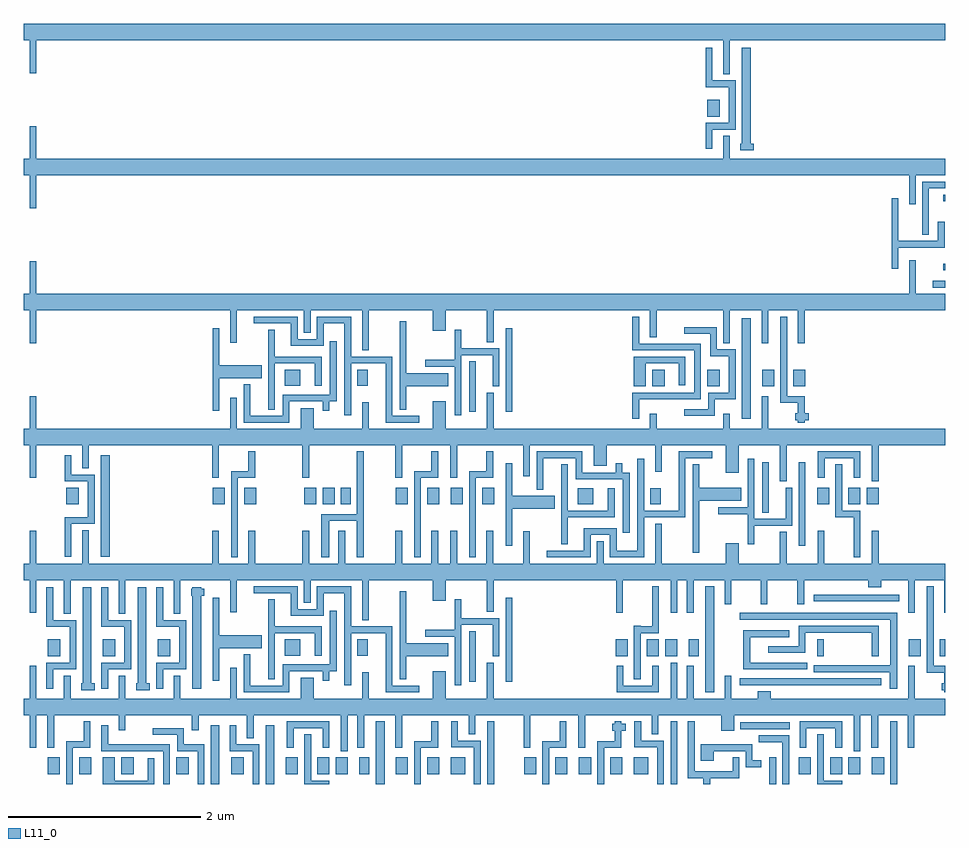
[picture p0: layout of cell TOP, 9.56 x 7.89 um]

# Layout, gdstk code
import gdstk
lib = gdstk.Library(unit=1e-6, precision=1e-10)
def R(c, l, rs):  # rectangles x0, y0, x1, y1
    for r in rs: c.add(gdstk.rectangle(r[:2], r[2:], *l))
def A(c, l, x, y, w, h, nx, ny, dx, dy):  # array of equal rectangles
    R(c, l, [(x+i*dx, y+j*dy, x+i*dx+w, y+j*dy+h) for i in range(nx) for j in range(ny)])
def P(c, l, *ps):  # polygons
    for p in ps: c.add(gdstk.Polygon(p, *l))
L11_0 = (11, 0)

top = lib.new_cell('TOP')
A(top, L11_0, 2.15, 23.1, 0.13, 0.175, 3, 1, 0.57, 0)
A(top, L11_0, 1.39, 24.325, 0.13, 0.175, 3, 1, 0.57, 0)
R(top, L11_0, [(3.08,23,3.17,23.61), (3.65,23,3.74,23.61), (4.79,23,4.885,23.65), (5.95,23,6.02,23.65), (7.85,23,7.92,23.65), (8.875,23,8.945,23.275), (10.13,23,10.2,23.65), (1.39,23.1,1.515,23.275), (1.715,23.1,1.84,23.275), (3.86,23.1,3.985,23.275), (4.185,23.1,4.31,23.275), (4.375,23.1,4.5,23.275), (4.62,23.1,4.725,23.275), (5,23.1,5.125,23.275), (5.325,23.1,5.45,23.275), (5.57,23.1,5.72,23.275), (6.33,23.1,6.455,23.275), (6.655,23.1,6.78,23.275), (6.9,23.1,7.025,23.275), (7.225,23.1,7.35,23.275), (7.47,23.1,7.62,23.275), (9.18,23.1,9.305,23.275), (9.505,23.1,9.63,23.275), (9.695,23.1,9.82,23.275), (9.94,23.1,10.065,23.275), (8.575,23.57,9.085,23.64), (8.21,23.95,8.305,25.05), (8.57,24.025,10.035,24.095), (5.76,24.06,5.83,24.585), (6.14,24.06,6.21,24.93), (7.28,24.325,7.405,24.5), (7.605,24.325,7.73,24.5), (7.795,24.325,7.92,24.5), (8.04,24.325,8.145,24.5), (9.37,24.325,9.44,24.5), (10.32,24.325,10.445,24.5), (10.645,24.325,10.7,24.5), (3.85,24.33,4.01,24.5), (4.6,24.33,4.71,24.5), (9.335,24.895,10.225,24.965), (1.94,25.36,2.03,26.41), (9.18,25.47,9.25,26.34), (8.8,25.815,8.87,26.34), (1.58,25.9,1.71,26.075), (3.1,25.9,3.225,26.075), (3.425,25.9,3.55,26.075), (4.05,25.9,4.175,26.075), (4.24,25.9,4.365,26.075), (4.43,25.9,4.53,26.075), (5,25.9,5.125,26.075), (5.325,25.9,5.45,26.075), (5.57,25.9,5.695,26.075), (5.895,25.9,6.02,26.075), (6.89,25.9,7.05,26.07), (7.64,25.9,7.75,26.07), (9.37,25.9,9.495,26.075), (9.695,25.9,9.82,26.075), (9.885,25.9,10.01,26.075), (8.59,26.79,8.68,27.83), (5.76,26.86,5.83,27.385), (6.14,26.86,6.21,27.73), (7.66,27.125,7.79,27.3), (8.23,27.125,8.36,27.3), (8.8,27.125,8.925,27.3), (9.125,27.125,9.25,27.3), (3.85,27.13,4.01,27.3), (4.6,27.13,4.71,27.3), (10.57,28.15,10.7,28.22), (10.68,28.33,10.7,28.4), (10.68,29.045,10.7,29.115), (8.23,29.925,8.36,30.1)])
P(top, L11_0, [(4.43,23.34),(4.43,23.715),(3.525,23.715),(3.525,23.475),(3.455,23.475),(3.455,23.715),(2.955,23.715),(2.955,23.56),(2.885,23.56),(2.885,23.715),(2.195,23.715),(2.195,23.56),(2.125,23.56),(2.125,23.715),(1.455,23.715),(1.455,23.375),(1.385,23.375),(1.385,23.715),(1.27,23.715),(1.27,23.375),(1.2,23.375),(1.2,23.715),(1.14,23.715),(1.14,23.885),(1.2,23.885),(1.2,24.225),(1.27,24.225),(1.27,23.885),(1.555,23.885),(1.555,24.125),(1.625,24.125),(1.625,23.885),(2.125,23.885),(2.125,24.125),(2.195,24.125),(2.195,23.885),(2.695,23.885),(2.695,24.125),(2.765,24.125),(2.765,23.885),(3.28,23.885),(3.28,24.205),(3.35,24.205),(3.35,23.885),(4.015,23.885),(4.015,24.1),(4.15,24.1),(4.15,23.885),(4.65,23.885),(4.65,24.16),(4.72,24.16),(4.72,23.885),(5.385,23.885),(5.385,24.17),(5.52,24.17),(5.52,23.885),(5.945,23.885),(5.945,24.26),(6.015,24.26),(6.015,23.885),(7.85,23.885),(7.85,24.26),(7.92,24.26),(7.92,23.885),(8.02,23.885),(8.02,24.225),(8.09,24.225),(8.09,23.885),(8.41,23.885),(8.41,24.125),(8.48,24.125),(8.48,23.885),(8.755,23.885),(8.755,23.96),(8.89,23.96),(8.89,23.885),(10.315,23.885),(10.315,24.225),(10.385,24.225),(10.385,23.885),(10.7,23.885),(10.7,23.715),(10.38,23.715),(10.38,23.375),(10.31,23.375),(10.31,23.715),(10.005,23.715),(10.005,23.375),(9.935,23.375),(9.935,23.715),(9.82,23.715),(9.82,23.34),(9.75,23.34),(9.75,23.715),(8.51,23.715),(8.51,23.55),(8.375,23.55),(8.375,23.715),(7.725,23.715),(7.725,23.515),(7.655,23.515),(7.655,23.715),(6.965,23.715),(6.965,23.375),(6.895,23.375),(6.895,23.715),(6.395,23.715),(6.395,23.375),(6.325,23.375),(6.325,23.715),(5.825,23.715),(5.825,23.515),(5.755,23.515),(5.755,23.715),(5.065,23.715),(5.065,23.375),(4.995,23.375),(4.995,23.715),(4.67,23.715),(4.67,23.375),(4.6,23.375),(4.6,23.715),(4.5,23.715),(4.5,23.34)],
  [(5.61,24.025),(5.61,24.53),(5.305,24.53),(5.305,24.6),(5.61,24.6),(5.61,24.915),(5.68,24.915),(5.68,24.72),(6.075,24.72),(6.075,24.325),(6.005,24.325),(6.005,24.65),(5.68,24.65),(5.68,24.025)],
  [(4.65,24.7),(4.65,25.115),(4.115,25.115),(4.115,24.88),(4.045,24.88),(4.045,25.115),(3.35,25.115),(3.35,24.78),(3.28,24.78),(3.28,25.115),(2.765,25.115),(2.765,24.765),(2.695,24.765),(2.695,25.115),(2.195,25.115),(2.195,24.765),(2.125,24.765),(2.125,25.115),(1.625,25.115),(1.625,24.765),(1.555,24.765),(1.555,25.115),(1.27,25.115),(1.27,24.775),(1.2,24.775),(1.2,25.115),(1.14,25.115),(1.14,25.285),(1.2,25.285),(1.2,25.625),(1.27,25.625),(1.27,25.285),(1.745,25.285),(1.745,25.635),(1.815,25.635),(1.815,25.285),(3.095,25.285),(3.095,25.625),(3.165,25.625),(3.165,25.285),(3.47,25.285),(3.47,25.625),(3.54,25.625),(3.54,25.285),(4.03,25.285),(4.03,25.625),(4.1,25.625),(4.1,25.285),(4.405,25.285),(4.405,25.625),(4.475,25.625),(4.475,25.285),(4.995,25.285),(4.995,25.625),(5.065,25.625),(5.065,25.285),(5.37,25.285),(5.37,25.625),(5.44,25.625),(5.44,25.285),(5.565,25.285),(5.565,25.625),(5.635,25.625),(5.635,25.285),(5.94,25.285),(5.94,25.625),(6.01,25.625),(6.01,25.285),(6.32,25.285),(6.32,25.62),(6.39,25.62),(6.39,25.285),(7.085,25.285),(7.085,25.52),(7.155,25.52),(7.155,25.285),(7.69,25.285),(7.69,25.7),(7.76,25.7),(7.76,25.285),(8.425,25.285),(8.425,25.5),(8.56,25.5),(8.56,25.285),(8.985,25.285),(8.985,25.615),(9.055,25.615),(9.055,25.285),(9.375,25.285),(9.375,25.625),(9.445,25.625),(9.445,25.285),(9.94,25.285),(9.94,25.625),(10.01,25.625),(10.01,25.285),(10.7,25.285),(10.7,24.775),(10.69,24.775),(10.69,25.115),(10.385,25.115),(10.385,24.775),(10.315,24.775),(10.315,25.115),(10.035,25.115),(10.035,25.04),(9.9,25.04),(9.9,25.115),(9.235,25.115),(9.235,24.865),(9.165,24.865),(9.165,25.115),(8.855,25.115),(8.855,24.865),(8.785,24.865),(8.785,25.115),(8.48,25.115),(8.48,24.865),(8.41,24.865),(8.41,25.115),(8.09,25.115),(8.09,24.775),(8.02,24.775),(8.02,25.115),(7.92,25.115),(7.92,24.775),(7.85,24.775),(7.85,25.115),(7.355,25.115),(7.355,24.775),(7.285,24.775),(7.285,25.115),(6.015,25.115),(6.015,24.785),(5.945,24.785),(5.945,25.115),(5.52,25.115),(5.52,24.9),(5.385,24.9),(5.385,25.115),(4.72,25.115),(4.72,24.7)],
  [(5.76,25.35),(5.76,26.245),(5.94,26.245),(5.94,26.45),(6.01,26.45),(6.01,26.175),(5.83,26.175),(5.83,25.35)],
  [(8.985,26.14),(8.985,26.515),(8.56,26.515),(8.56,26.23),(8.425,26.23),(8.425,26.515),(7.76,26.515),(7.76,26.24),(7.69,26.24),(7.69,26.515),(7.19,26.515),(7.19,26.3),(7.055,26.3),(7.055,26.515),(6.39,26.515),(6.39,26.195),(6.32,26.195),(6.32,26.515),(5.635,26.515),(5.635,26.175),(5.565,26.175),(5.565,26.515),(5.065,26.515),(5.065,26.175),(4.995,26.175),(4.995,26.515),(4.1,26.515),(4.1,26.175),(4.03,26.175),(4.03,26.515),(3.165,26.515),(3.165,26.175),(3.095,26.175),(3.095,26.515),(1.815,26.515),(1.815,26.275),(1.745,26.275),(1.745,26.515),(1.27,26.515),(1.27,26.175),(1.2,26.175),(1.2,26.515),(1.14,26.515),(1.14,26.685),(1.2,26.685),(1.2,27.025),(1.27,27.025),(1.27,26.685),(3.28,26.685),(3.28,27.005),(3.35,27.005),(3.35,26.685),(4.015,26.685),(4.015,26.9),(4.15,26.9),(4.15,26.685),(4.65,26.685),(4.65,26.96),(4.72,26.96),(4.72,26.685),(5.385,26.685),(5.385,26.97),(5.52,26.97),(5.52,26.685),(5.945,26.685),(5.945,27.06),(6.015,27.06),(6.015,26.685),(7.635,26.685),(7.635,26.84),(7.705,26.84),(7.705,26.685),(8.395,26.685),(8.395,26.84),(8.465,26.84),(8.465,26.685),(8.795,26.685),(8.795,27.025),(8.865,27.025),(8.865,26.685),(10.7,26.685),(10.7,26.515),(10.01,26.515),(10.01,26.14),(9.94,26.14),(9.94,26.515),(9.055,26.515),(9.055,26.14)],
  [(3.42,26.75),(3.42,27.145),(3.49,27.145),(3.49,26.82),(3.825,26.82),(3.825,27.04),(4.315,27.04),(4.315,27.595),(4.385,27.595),(4.385,26.97),(4.31,26.97),(4.31,26.87),(4.24,26.87),(4.24,26.97),(3.895,26.97),(3.895,26.75)],
  [(3.675,26.885),(3.675,27.715),(3.745,27.715),(3.745,27.435),(4.23,27.435),(4.23,27.13),(4.16,27.13),(4.16,27.365),(3.745,27.365),(3.745,26.885)],
  [(5.61,26.825),(5.61,27.33),(5.305,27.33),(5.305,27.4),(5.61,27.4),(5.61,27.715),(5.68,27.715),(5.68,27.52),(6.075,27.52),(6.075,27.125),(6.005,27.125),(6.005,27.45),(5.68,27.45),(5.68,26.825)],
  [(3.1,26.87),(3.1,27.73),(3.17,27.73),(3.17,27.345),(3.61,27.345),(3.61,27.21),(3.17,27.21),(3.17,26.87)],
  [(7.99,26.82),(7.99,26.89),(8.24,26.89),(8.24,27.06),(8.455,27.06),(8.455,27.44),(8.26,27.44),(8.26,27.67),(7.99,27.67),(7.99,27.74),(8.33,27.74),(8.33,27.51),(8.525,27.51),(8.525,26.99),(8.31,26.99),(8.31,26.82)],
  [(5.04,26.885),(5.04,27.8),(5.11,27.8),(5.11,27.26),(5.545,27.26),(5.545,27.125),(5.11,27.125),(5.11,26.885)],
  [(4.895,26.75),(4.895,27.365),(4.535,27.365),(4.535,26.825),(4.465,26.825),(4.465,27.78),(4.25,27.78),(4.25,27.545),(3.91,27.545),(3.91,27.78),(3.525,27.78),(3.525,27.85),(3.98,27.85),(3.98,27.615),(4.18,27.615),(4.18,27.85),(4.535,27.85),(4.535,27.435),(4.965,27.435),(4.965,26.82),(5.245,26.82),(5.245,26.75)],
  [(7.455,26.79),(7.455,27.06),(8.095,27.06),(8.095,27.5),(7.455,27.5),(7.455,27.85),(7.525,27.85),(7.525,27.57),(8.165,27.57),(8.165,26.99),(7.525,26.99),(7.525,26.79)],
  [(9.17,26.75),(9.17,26.775),(9.145,26.775),(9.145,26.845),(9.17,26.845),(9.17,26.955),(8.99,26.955),(8.99,27.85),(9.06,27.85),(9.06,27.025),(9.24,27.025),(9.24,26.845),(9.285,26.845),(9.285,26.775),(9.24,26.775),(9.24,26.75)],
  [(4.65,27.5),(4.65,27.915),(4.115,27.915),(4.115,27.68),(4.045,27.68),(4.045,27.915),(3.35,27.915),(3.35,27.58),(3.28,27.58),(3.28,27.915),(1.27,27.915),(1.27,27.575),(1.2,27.575),(1.2,27.915),(1.14,27.915),(1.14,28.085),(1.2,28.085),(1.2,28.425),(1.27,28.425),(1.27,28.085),(10.325,28.085),(10.325,28.435),(10.395,28.435),(10.395,28.085),(10.7,28.085),(10.7,27.915),(9.24,27.915),(9.24,27.575),(9.17,27.575),(9.17,27.915),(8.865,27.915),(8.865,27.575),(8.795,27.575),(8.795,27.915),(8.465,27.915),(8.465,27.575),(8.395,27.575),(8.395,27.915),(7.705,27.915),(7.705,27.635),(7.635,27.635),(7.635,27.915),(6.015,27.915),(6.015,27.585),(5.945,27.585),(5.945,27.915),(5.52,27.915),(5.52,27.7),(5.385,27.7),(5.385,27.915),(4.72,27.915),(4.72,27.5)],
  [(1.2,28.975),(1.2,29.315),(1.14,29.315),(1.14,29.485),(1.2,29.485),(1.2,29.825),(1.27,29.825),(1.27,29.485),(8.395,29.485),(8.395,29.725),(8.465,29.725),(8.465,29.485),(10.7,29.485),(10.7,29.315),(10.395,29.315),(10.395,29.015),(10.325,29.015),(10.325,29.315),(1.27,29.315),(1.27,28.975)],
  [(8.395,30.365),(8.395,30.715),(1.27,30.715),(1.27,30.375),(1.2,30.375),(1.2,30.715),(1.14,30.715),(1.14,30.885),(10.7,30.885),(10.7,30.715),(8.465,30.715),(8.465,30.365)],
  [(7.47,27.125),(7.47,27.435),(8.005,27.435),(8.005,27.135),(7.935,27.135),(7.935,27.365),(7.595,27.365),(7.595,27.125)],
  [(10.145,28.345),(10.145,29.075),(10.215,29.075),(10.215,28.635),(10.625,28.635),(10.625,28.835),(10.695,28.835),(10.695,28.565),(10.215,28.565),(10.215,28.345)],
  [(10.46,28.7),(10.46,29.25),(10.7,29.25),(10.7,29.18),(10.53,29.18),(10.53,28.7)],
  [(8.215,29.59),(8.215,29.86),(8.455,29.86),(8.455,30.23),(8.215,30.23),(8.215,30.64),(8.285,30.64),(8.285,30.3),(8.525,30.3),(8.525,29.79),(8.285,29.79),(8.285,29.59)],
  [(8.575,29.575),(8.575,29.645),(8.59,29.645),(8.59,30.64),(8.68,30.64),(8.68,29.645),(8.715,29.645),(8.715,29.575)],
  [(1.375,23.99),(1.375,24.26),(1.615,24.26),(1.615,24.63),(1.375,24.63),(1.375,25.04),(1.445,25.04),(1.445,24.7),(1.685,24.7),(1.685,24.19),(1.445,24.19),(1.445,23.99)],
  [(1.735,23.975),(1.735,24.045),(1.75,24.045),(1.75,25.04),(1.84,25.04),(1.84,24.045),(1.875,24.045),(1.875,23.975)],
  [(1.945,23.99),(1.945,24.26),(2.185,24.26),(2.185,24.63),(1.945,24.63),(1.945,25.04),(2.015,25.04),(2.015,24.7),(2.255,24.7),(2.255,24.19),(2.015,24.19),(2.015,23.99)],
  [(2.305,23.975),(2.305,24.045),(2.32,24.045),(2.32,25.04),(2.41,25.04),(2.41,24.045),(2.445,24.045),(2.445,23.975)],
  [(2.515,23.99),(2.515,24.26),(2.755,24.26),(2.755,24.63),(2.515,24.63),(2.515,25.04),(2.585,25.04),(2.585,24.7),(2.825,24.7),(2.825,24.19),(2.585,24.19),(2.585,23.99)],
  [(2.89,23.99),(2.89,24.955),(2.875,24.955),(2.875,25.025),(2.89,25.025),(2.89,25.04),(2.98,25.04),(2.98,25.025),(3.015,25.025),(3.015,24.955),(2.98,24.955),(2.98,23.99)],
  [(4.895,23.95),(4.895,24.565),(4.535,24.565),(4.535,24.025),(4.465,24.025),(4.465,24.98),(4.25,24.98),(4.25,24.745),(3.91,24.745),(3.91,24.98),(3.525,24.98),(3.525,25.05),(3.98,25.05),(3.98,24.815),(4.18,24.815),(4.18,25.05),(4.535,25.05),(4.535,24.635),(4.965,24.635),(4.965,24.02),(5.245,24.02),(5.245,23.95)],
  [(1.96,23),(1.96,23.275),(2.085,23.275),(2.085,23.035),(2.425,23.035),(2.425,23.265),(2.495,23.265),(2.495,23)],
  [(1.565,25.36),(1.565,25.77),(1.805,25.77),(1.805,26.14),(1.565,26.14),(1.565,26.41),(1.635,26.41),(1.635,26.21),(1.875,26.21),(1.875,25.7),(1.635,25.7),(1.635,25.36)],
  [(3.29,25.35),(3.29,26.245),(3.47,26.245),(3.47,26.45),(3.54,26.45),(3.54,26.175),(3.36,26.175),(3.36,25.35)],
  [(4.225,25.35),(4.225,25.8),(4.595,25.8),(4.595,26.45),(4.665,26.45),(4.665,25.35),(4.595,25.35),(4.595,25.73),(4.31,25.73),(4.31,25.35)],
  [(5.19,25.35),(5.19,26.245),(5.37,26.245),(5.37,26.45),(5.44,26.45),(5.44,26.175),(5.26,26.175),(5.26,25.35)],
  [(4.05,23),(4.05,23.515),(4.12,23.515),(4.12,23.035),(4.31,23.035),(4.31,23)],
  [(2.945,23),(2.945,23.34),(2.73,23.34),(2.73,23.51),(2.48,23.51),(2.48,23.58),(2.8,23.58),(2.8,23.41),(3.015,23.41),(3.015,23)],
  [(2.585,23),(2.585,23.34),(1.945,23.34),(1.945,23.61),(2.015,23.61),(2.015,23.41),(2.655,23.41),(2.655,23)],
  [(3.515,23),(3.515,23.34),(3.275,23.34),(3.275,23.61),(3.345,23.61),(3.345,23.41),(3.585,23.41),(3.585,23)],
  [(1.58,23),(1.58,23.445),(1.76,23.445),(1.76,23.65),(1.83,23.65),(1.83,23.375),(1.65,23.375),(1.65,23)],
  [(3.87,23.375),(3.87,23.65),(4.31,23.65),(4.31,23.375),(4.24,23.375),(4.24,23.58),(3.94,23.58),(3.94,23.375)],
  [(5.19,23),(5.19,23.445),(5.37,23.445),(5.37,23.65),(5.44,23.65),(5.44,23.375),(5.26,23.375),(5.26,23)],
  [(5.81,23),(5.81,23.38),(5.575,23.38),(5.575,23.65),(5.645,23.65),(5.645,23.45),(5.88,23.45),(5.88,23)],
  [(3.42,23.95),(3.42,24.345),(3.49,24.345),(3.49,24.02),(3.825,24.02),(3.825,24.24),(4.315,24.24),(4.315,24.795),(4.385,24.795),(4.385,24.17),(4.31,24.17),(4.31,24.07),(4.24,24.07),(4.24,24.17),(3.895,24.17),(3.895,23.95)],
  [(3.675,24.085),(3.675,24.915),(3.745,24.915),(3.745,24.635),(4.23,24.635),(4.23,24.33),(4.16,24.33),(4.16,24.565),(3.745,24.565),(3.745,24.085)],
  [(3.1,24.07),(3.1,24.93),(3.17,24.93),(3.17,24.545),(3.61,24.545),(3.61,24.41),(3.17,24.41),(3.17,24.07)],
  [(5.04,24.085),(5.04,25),(5.11,25),(5.11,24.46),(5.545,24.46),(5.545,24.325),(5.11,24.325),(5.11,24.085)],
  [(9.37,23),(9.37,23.515),(9.44,23.515),(9.44,23.035),(9.63,23.035),(9.63,23)],
  [(6.715,25.485),(6.715,26.315),(6.785,26.315),(6.785,25.835),(7.2,25.835),(7.2,26.07),(7.27,26.07),(7.27,25.765),(6.785,25.765),(6.785,25.485)],
  [(8.08,25.4),(8.08,26.315),(8.15,26.315),(8.15,26.075),(8.585,26.075),(8.585,25.94),(8.15,25.94),(8.15,25.4)],
  [(9.75,25.35),(9.75,25.765),(9.56,25.765),(9.56,26.315),(9.63,26.315),(9.63,25.835),(9.82,25.835),(9.82,25.35)],
  [(6.14,25.47),(6.14,26.33),(6.21,26.33),(6.21,25.99),(6.65,25.99),(6.65,25.855),(6.21,25.855),(6.21,25.47)],
  [(8.65,25.485),(8.65,25.8),(8.345,25.8),(8.345,25.87),(8.65,25.87),(8.65,26.375),(8.72,26.375),(8.72,25.75),(9.045,25.75),(9.045,26.075),(9.115,26.075),(9.115,25.68),(8.72,25.68),(8.72,25.485)],
  [(7.355,25.605),(7.355,26.16),(6.865,26.16),(6.865,26.38),(6.53,26.38),(6.53,26.055),(6.46,26.055),(6.46,26.45),(6.935,26.45),(6.935,26.23),(7.28,26.23),(7.28,26.33),(7.35,26.33),(7.35,26.23),(7.425,26.23),(7.425,25.605)],
  [(6.565,25.35),(6.565,25.42),(6.95,25.42),(6.95,25.655),(7.29,25.655),(7.29,25.42),(7.505,25.42),(7.505,26.375),(7.575,26.375),(7.575,25.835),(7.935,25.835),(7.935,26.45),(8.285,26.45),(8.285,26.38),(8.005,26.38),(8.005,25.765),(7.575,25.765),(7.575,25.35),(7.22,25.35),(7.22,25.585),(7.02,25.585),(7.02,25.35)],
  [(9.38,26.175),(9.38,26.45),(9.82,26.45),(9.82,26.175),(9.75,26.175),(9.75,26.38),(9.45,26.38),(9.45,26.175)],
  [(8.605,24.19),(8.605,24.595),(9.08,24.595),(9.08,24.525),(8.675,24.525),(8.675,24.26),(9.27,24.26),(9.27,24.19)],
  [(9.94,24.325),(9.94,24.57),(9.25,24.57),(9.25,24.36),(8.865,24.36),(8.865,24.43),(9.18,24.43),(9.18,24.64),(10.01,24.64),(10.01,24.325)],
  [(10.125,23.99),(10.125,24.16),(9.335,24.16),(9.335,24.23),(10.13,24.23),(10.13,24.705),(8.57,24.705),(8.57,24.775),(10.2,24.775),(10.2,23.99)],
  [(8.63,23.175),(8.63,23.34),(8.3,23.34),(8.3,23.24),(8.165,23.24),(8.165,23.41),(8.7,23.41),(8.7,23.245),(8.79,23.245),(8.79,23.175)],
  [(6.52,23),(6.52,23.445),(6.7,23.445),(6.7,23.65),(6.77,23.65),(6.77,23.375),(6.59,23.375),(6.59,23)],
  [(7.09,23),(7.09,23.445),(7.27,23.445),(7.27,23.555),(7.245,23.555),(7.245,23.625),(7.27,23.625),(7.27,23.65),(7.34,23.65),(7.34,23.625),(7.385,23.625),(7.385,23.555),(7.34,23.555),(7.34,23.375),(7.16,23.375),(7.16,23)],
  [(7.71,23),(7.71,23.38),(7.475,23.38),(7.475,23.65),(7.545,23.65),(7.545,23.45),(7.78,23.45),(7.78,23)],
  [(7.47,24.085),(7.47,24.64),(7.54,24.64),(7.54,24.635),(7.66,24.635),(7.66,25.05),(7.73,25.05),(7.73,24.565),(7.54,24.565),(7.54,24.085)],
  [(10.69,23.95),(10.69,23.975),(10.665,23.975),(10.665,24.045),(10.69,24.045),(10.69,24.155),(10.51,24.155),(10.51,25.05),(10.58,25.05),(10.58,24.225),(10.7,24.225),(10.7,23.95)],
  [(8.19,23),(8.19,23.06),(8.03,23.06),(8.03,23.65),(8.1,23.65),(8.1,23.13),(8.495,23.13),(8.495,23.275),(8.565,23.275),(8.565,23.06),(8.26,23.06),(8.26,23)],
  [(9.19,23.375),(9.19,23.65),(9.63,23.65),(9.63,23.375),(9.56,23.375),(9.56,23.58),(9.26,23.58),(9.26,23.375)],
  [(7.29,23.95),(7.29,24.225),(7.36,24.225),(7.36,24.02),(7.66,24.02),(7.66,24.225),(7.73,24.225),(7.73,23.95)],
  [(9.01,23),(9.01,23.435),(8.765,23.435),(8.765,23.505),(9.08,23.505),(9.08,23)])

lib.write_gds('TOP.gds')
